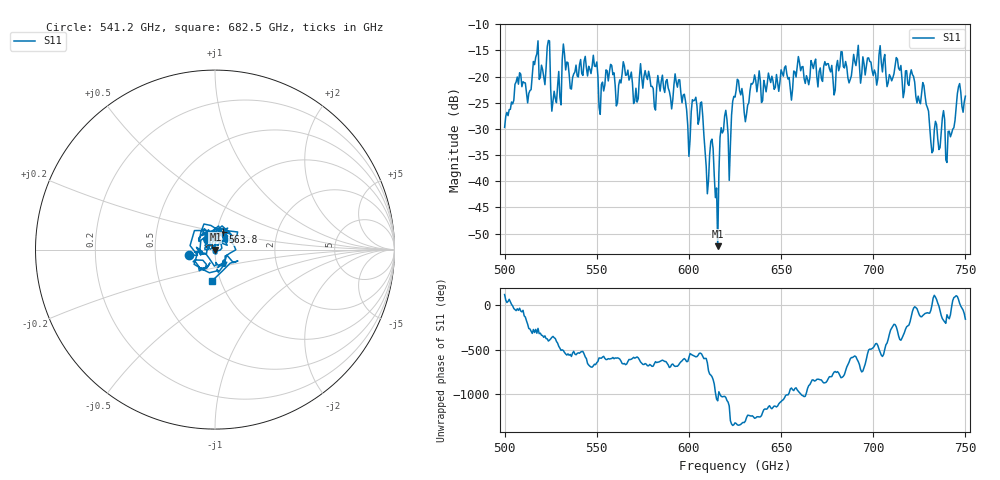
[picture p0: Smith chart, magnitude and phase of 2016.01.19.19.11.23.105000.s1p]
!Created with skrf (http://scikit-rf.org).
# GHz S RI R 50.0
!freq ReS11 ImS11
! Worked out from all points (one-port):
!   401 points, 500 GHz to 750 GHz, reference 50 ohm
!   lowest |S11| = -52.4 dB at 615.6 GHz (marker M1), VSWR 1.00, Z = 50.2 + j0.0317 ohm
!   |S11| at or under -10 dB: start of sweep to end of sweep
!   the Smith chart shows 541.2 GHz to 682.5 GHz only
!   S11 on the Smith chart (normalised r, x): 541.2 GHz: 0.75, -0.04; 563.8 GHz: 1.07, +0.21; 682.5 GHz: 0.92, -0.33
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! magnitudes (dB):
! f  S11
! 500 GHz  -29.7
! 507.5 GHz  -21.5
! 513.1 GHz  -23.2
! 516.9 GHz  -16.3
! 523.8 GHz  -13.1
! 526.9 GHz  -22.8
! 531.2 GHz  -16.8
! 541.2 GHz  -16.7
! 562.5 GHz  -20.6
! 563.8 GHz  -19.5
! 571.2 GHz  -22.2
! 593.8 GHz  -22.0
! 600 GHz  -35.2
! 606.9 GHz  -24.9
! 609.4 GHz  -37.2
! 612.5 GHz  -32.0
! 615.6 GHz  -52.4
! 618.1 GHz  -30.8
! 621.9 GHz  -39.8
! 625 GHz  -23.9
! 656.2 GHz  -22.4
! 682.5 GHz  -15.2
! 687.5 GHz  -20.6
! 718.8 GHz  -21.4
! 728.1 GHz  -23.7
! 731.9 GHz  -34.6
! 740.6 GHz  -30.5
! 750 GHz  -23.8
